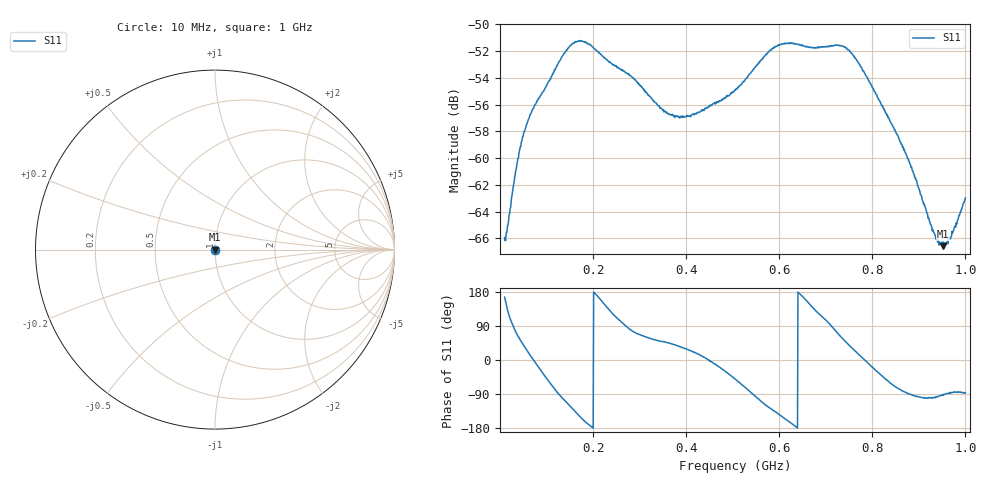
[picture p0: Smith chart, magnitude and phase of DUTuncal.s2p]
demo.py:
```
#!/usr/bin/env python3
# -*- coding: utf-8 -*-
"""

Demo.py 

demonstrate scikit-rf SOLT one-port cal

@author timothy.d.drysdale@gmail.com

Created 2022-02-20

"""


import skrf as rf
from skrf.calibration import OnePort
from skrf.media import DefinedGammaZ0
import matplotlib.pyplot as plt
import numpy as np

# measured files supplied from pocket-VNA measurement
meas2port = [\
        rf.Network('test/measured/short.s2p'),
        rf.Network('test/measured/open.s2p'),
        rf.Network('test/measured/load.s2p'),
        ]
# the data we want is S11

meas1port = []
for meas in meas2port:
    meas1port.append(rf.Network(frequency=meas.frequency, s=meas.s[:,0,0], name=meas.name))


line = DefinedGammaZ0(meas1port[0].frequency)

my_ideals = [\
        line.short(),
        line.open(),
        line.load(1e-99), #noreflection Gamma -> 0 (can't be zero, div by zero error)
        ]


## create a Calibration instance
cal = OnePort(\
        ideals = my_ideals,
        measured = meas1port,
        )


## run, and apply calibration to a DUT

# run calibration algorithm
cal.run()

# apply it to a dut
dut2port = rf.Network('test/supplied/DUTuncal.s2p')
dut1port = rf.Network(frequency=dut2port.frequency, s=dut2port.s[:,0,0], name="scikit cal")
dut_caled = cal.apply_cal(dut1port)

# save results for comparison against automated implementation of this approach
dut_caled.write_touchstone('test/expected/expected.s1p')

# check results against supplied data

expected2port = rf.Network('test/supplied/DUTcal.s2p')
expected1port = rf.Network(frequency=expected2port.frequency, s=expected2port.s[:,0,0], name="matlab cal")

plt.figure()
dut_caled.plot_s_db()
expected1port.plot_s_db()
plt.savefig("img/demo-db.png",dpi=300)
plt.show()
plt.close()

plt.figure()
dut_caled.plot_s_deg()
expected1port.plot_s_deg()
plt.savefig("img/demo-deg.png",dpi=300)
plt.show()
plt.close()

plt.figure()
scdb = np.squeeze(dut_caled.s_db)
mcdb = np.squeeze(expected1port.s_db)
plt.plot(dut_caled.f, scdb-mcdb)
plt.xlabel("Frequency (Hz)")
plt.ylabel("Error (dB)")
plt.savefig("img/demo-db-error.png",dpi=300)
plt.show()
plt.close()

plt.figure()
scdeg = np.squeeze(dut_caled.s_deg)
mcdeg = np.squeeze(expected1port.s_deg)
plt.plot(dut_caled.f, scdeg-mcdeg)
plt.ylim([-180,180])
plt.xlabel("Frequency (Hz)")
plt.ylabel("Error (deg)")
plt.savefig("img/demo-deg-error.png",dpi=300)
plt.show()
plt.close()


## prep for the JSON DEMO ... do it all again, but with JSON.

# get our arrays out of the network models
f = meas1port[0].f.tolist()
mssr = np.squeeze(meas1port[0].s_re).tolist()
mssi = np.squeeze(meas1port[0].s_im).tolist()

msor = np.squeeze(meas1port[1].s_re).tolist()
msoi = np.squeeze(meas1port[1].s_im).tolist()

mslr = np.squeeze(meas1port[2].s_re).tolist()
msli = np.squeeze(meas1port[2].s_im).tolist()

msdr = np.squeeze(dut1port.s_re).tolist()
msdi = np.squeeze(dut1port.s_im).tolist()


request = {
        "cmd":"oneport",
        "freq":f,
        "short":{
            "real":mssr,
            "imag":mssi
                },
         "open":{
            "real":msor,
            "imag":msoi
                },               
         "load":{
            "real":mslr,
            "imag":msli
                },                 
         "dut":{
            "real":msdr,
            "imag":msdi
                }  
        }

import json
with open('test/json/oneport.json', 'w') as f:
    json.dump(request, f)
```
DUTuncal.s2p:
! PocketVna 1.57  pocketvna.com
! Live measurements ((Reflection-S11) Linear 10000000-1000000000/1000 non-calibrated)
# Hz S RI R 50
! Hz  ReS11  ImS11  ReS21  ImS21  ReS12  ImS12  ReS22  ImS22
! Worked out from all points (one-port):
!   1000 points, 10 MHz to 1 GHz, reference 50 ohm
!   lowest |S11| = -66.6 dB at 952.4 MHz (marker M1), VSWR 1.00, Z = 50 - j0.0469 ohm
!   |S11| at or under -10 dB: start of sweep to end of sweep
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1e7  -0.00048 0.00012  0 0  0 0  0 0
3.873874e7  0.000456 0.000891  0 0  0 0  0 0
5.954955e7  0.00127 0.000515  0 0  0 0  0 0
1.586486e8  -0.00179 -0.002  0 0  0 0  0 0
3.736937e8  0.00109 0.000931  0 0  0 0  0 0
5.054955e8  0.00115 -0.0014  0 0  0 0  0 0
6.016216e8  -0.00218 -0.00152  0 0  0 0  0 0
7.453153e8  0.00183 0.00181  0 0  0 0  0 0
8.513514e8  0.00038 -0.00118  0 0  0 0  0 0
9.524324e8  -7.62e-06 -0.000469  0 0  0 0  0 0
1e9  3.7e-05 -0.000709  0 0  0 0  0 0
